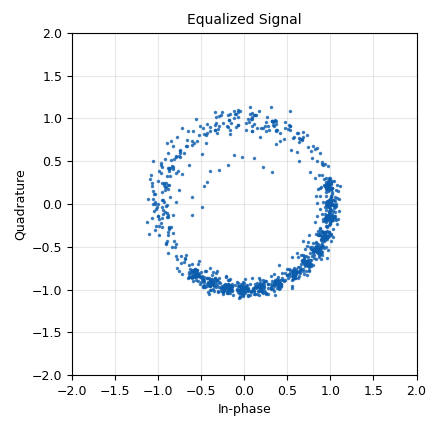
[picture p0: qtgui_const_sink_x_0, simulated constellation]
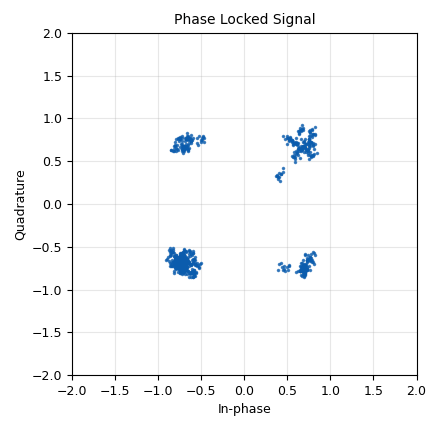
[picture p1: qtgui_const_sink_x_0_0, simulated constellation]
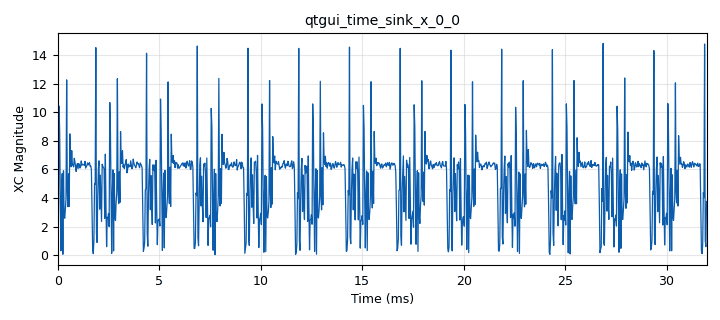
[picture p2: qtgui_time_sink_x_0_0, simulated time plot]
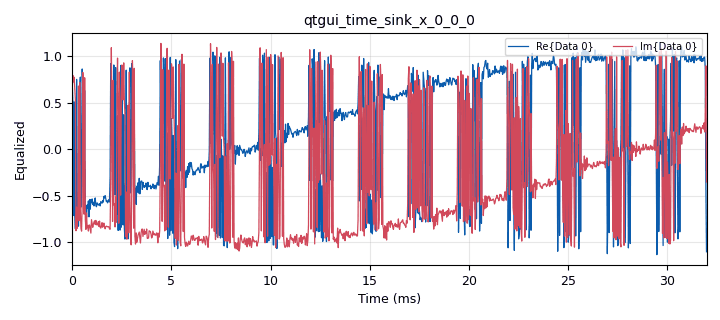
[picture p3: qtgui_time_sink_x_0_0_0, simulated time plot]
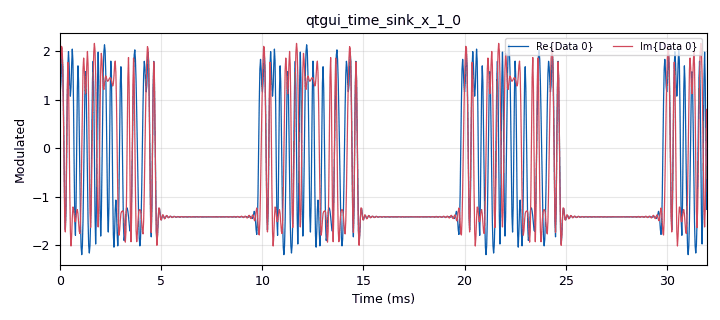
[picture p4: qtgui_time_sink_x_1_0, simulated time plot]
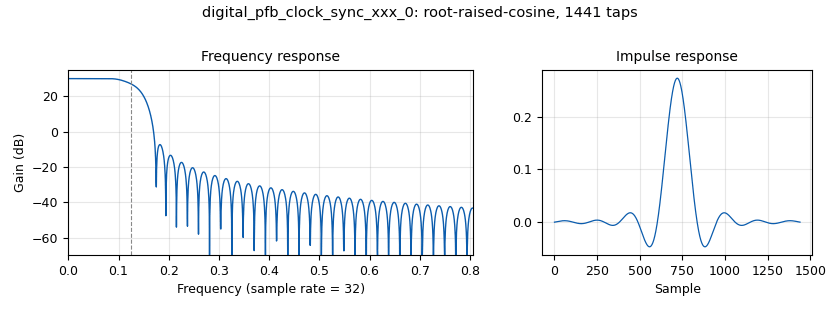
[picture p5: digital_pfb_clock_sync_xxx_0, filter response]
options:
  parameters:
    author: Naoki Pross
    generate_options: qt_gui
    id: correlator
    output_language: python
    title: Correlator Test
  states: {}

blocks:
- name: access_code_symbols
  id: variable
  parameters:
    value: '[(-1.4142135623730951-1.4142135623730951j), (1.4142135623730951-1.4142135623730951j), (1.4142135623730951+1.4142135623730951j), (1.4142135623730951+1.4142135623730951j), (-1.4142135623730951-1.4142135623730951j), (1.4142135623730951+1.4142135623730951j), (1.4142135623730951-1.4142135623730951j), (1.4142135623730951-1.4142135623730951j)]'
  states: {}
- name: access_code_symbols_sps
  id: variable
  parameters:
    value: '[(1.4142197+1.4142197j), (1.4142197+1.4142197j), (1.4142197+1.4142197j), (1.4142197+1.4142197j), (1.4142197-1.4142197j), (1.4142197-1.4142197j), (1.4142197-1.4142197j), (1.4142197-1.4142197j), (1.4142197-1.4142197j), (1.4142197-1.4142197j), (1.4142197-1.4142197j), (1.4142197-1.4142197j), (-1.4142197-1.4142197j), (-1.4142197-1.4142197j), (-1.4142197-1.4142197j), (-1.4142197-1.4142197j), (1.4142197-1.4142197j), (1.4142197-1.4142197j), (1.4142197-1.4142197j), (1.4142197-1.4142197j), (1.4142197+1.4142197j), (1.4142197+1.4142197j), (1.4142197+1.4142197j), (1.4142197+1.4142197j), (1.4142197+1.4142197j), (1.4142197+1.4142197j), (1.4142197+1.4142197j), (1.4142197+1.4142197j)]'
  states: {}
- name: const
  id: variable_constellation
  parameters:
    precision: '8'
    type: qpsk
  states: {}
- name: excess_bw
  id: variable
  parameters:
    value: '.35'
  states: {}
- name: nfilts
  id: variable
  parameters:
    value: '32'
  states: {}
- name: revconj_access_code_symbols
  id: variable
  parameters:
    value: '[(1.4142135623730951+1.4142135623730951j), (1.4142135623730951+1.4142135623730951j), (1.4142135623730951-1.4142135623730951j), (-1.4142135623730951+1.4142135623730951j), (1.4142135623730951-1.4142135623730951j), (1.4142135623730951-1.4142135623730951j), (1.4142135623730951+1.4142135623730951j), (-1.4142135623730951+1.4142135623730951j)]'
  states: {}
- name: rrc_taps
  id: variable
  parameters:
    value: firdes.root_raised_cosine(nfilts, nfilts, 1.0/float(sps), excess_bw, 45*nfilts)
  states: {}
- name: samp_rate
  id: variable
  parameters:
    value: '32000'
  states: {}
- name: sps
  id: variable
  parameters:
    value: '4'
  states: {}
- name: testvec
  id: variable
  parameters:
    value: '[31, 53] + [0x12, 0xe3, 0x9b, 0xee, 0x84, 0x23, 0x41, 0xf3]'
  states: {}
- name: timing_loop_bw
  id: variable
  parameters:
    value: 2 * 3.141592653589793 / 100
  states: {}
- name: blocks_complex_to_magphase_0
  id: blocks_complex_to_magphase
  parameters: {}
  states: {state: disabled}
- name: blocks_complex_to_magphase_0_0
  id: blocks_complex_to_magphase
  parameters: {}
  states: {}
- name: blocks_multiply_const_vxx_0
  id: blocks_multiply_const_vxx
  parameters:
    const: 180 / 3.141592653589793
    type: float
  states: {state: disabled}
- name: blocks_multiply_const_vxx_0_0
  id: blocks_multiply_const_vxx
  parameters:
    const: 180 / 3.141592653589793
    type: float
  states: {state: disabled}
- name: blocks_null_sink_3
  id: blocks_null_sink
  parameters:
    type: float
  states: {}
- name: blocks_null_source_0
  id: blocks_null_source
  parameters:
    type: byte
  states: {}
- name: blocks_stream_mux_0
  id: blocks_stream_mux
  parameters:
    lengths: '[10, len(testvec)]'
    type: byte
  states: {}
- name: blocks_stream_mux_1
  id: blocks_stream_mux
  parameters:
    lengths: '[len(access_code_symbols_sps), sps * (len(testvec) + 15)]'
    type: complex
  states: {state: disabled}
- name: blocks_throttle_0
  id: blocks_throttle
  parameters:
    samples_per_second: samp_rate
    type: complex
  states: {}
- name: blocks_vector_sink_x_0
  id: blocks_vector_sink_x
  parameters:
    type: byte
  states: {}
- name: blocks_vector_source_x_0
  id: blocks_vector_source_x
  parameters:
    repeat: 'True'
    type: byte
    vector: testvec * 1600
  states: {}
- name: blocks_vector_source_x_1
  id: blocks_vector_source_x
  parameters:
    repeat: 'True'
    type: complex
    vector: access_code_symbols_sps
  states: {state: disabled}
- name: channels_channel_model_0
  id: channels_channel_model
  parameters:
    epsilon: '1.0'
    freq_offset: '0.0001'
    noise_voltage: '0.2'
    seed: '243'
    taps: '-1.4 + .4j'
  states: {}
- name: digital_cma_equalizer_cc_0
  id: digital_cma_equalizer_cc
  parameters:
    modulus: '1'
    mu: '.002'
    num_taps: '15'
    sps: '1'
  states: {}
- name: digital_constellation_decoder_cb_0
  id: digital_constellation_decoder_cb
  parameters:
    constellation: const
  states: {}
- name: digital_constellation_modulator_0
  id: digital_constellation_modulator
  parameters:
    constellation: const
    differential: 'False'
    excess_bw: excess_bw
    samples_per_symbol: sps
  states: {}
- name: digital_corr_est_cc_0
  id: digital_corr_est_cc
  parameters:
    mark_delay: '0'
    sps: '1'
    symbols: access_code_symbols
    threshold: '.8'
    threshold_method: digital.THRESHOLD_DYNAMIC
  states: {}
- name: digital_pfb_clock_sync_xxx_0
  id: digital_pfb_clock_sync_xxx
  parameters:
    filter_size: nfilts
    init_phase: '16'
    loop_bw: timing_loop_bw
    max_dev: '1.5'
    osps: '1'
    sps: sps
    taps: rrc_taps
    type: ccf
  states: {}
- name: epy_block_0
  id: epy_block
  parameters:
    _source_code: |
      import pmt

      import numpy as np
      from gnuradio import gr


      class blk(gr.sync_block):
          def __init__(self):
              gr.sync_block.__init__(
                  self,
                  name='Phase Lock',
                  in_sig=[np.complex64],
                  out_sig=[np.complex64]
              )

              # keep track of how many samples were processed,
              # because tags have an absolute offset
              self.sampnr: np.complex64 = 0

              # because of block processing a tagged block could
              # be split in half so we need to keep track of the
              # "previous" values
              self.last_tag = None

          def work(self, input_items, output_items):
              # nicer aliases
              out = output_items[0]
              inp = input_items[0]

              def print_phase_correction(start, end, phase, freq):
                  print(f"Correction for block {start:3d} to {end:3d} is phase = {phase: 2.4f} rad, freq = {freq * 1e3: 2.4f} milli rad/samp")

              # read only phase tags
              tags = self.get_tags_in_window(0, 0, len(inp))

              is_phase = lambda tag: pmt.to_python(tag.key) == "phase_est"
              phase_tags = list(filter(is_phase, tags))

              # FIXME: what if there are no tags? check that!

              print(f"Processing {len(inp)} samples, with {len(phase_tags)} tags")

              # create a phase correction vector
              phase = np.zeros(len(inp), dtype=np.float64)

              # compute correction from previous block (if present)
              if self.last_tag:
                  # variables for first and last phase values
                  lval = pmt.to_python(self.last_tag.value)
                  fval = pmt.to_python(phase_tags[0].value)

                  # compute index for phase vector
                  fidx = phase_tags[0].offset - self.sampnr

                  # compute frequency offset
                  nsamples = phase_tags[0].offset - self.last_tag.offset
                  freq = (fval - lval) / nsamples

                  # total phase correction is: phase + freq * time
                  phase[:fidx] = lval * np.ones(fidx) + freq * np.arange(0, fidx)

                  # compute correction
                  print_phase_correction(0, fidx, lval, freq)

              # iterate phase tags "in the middle"
              # FIXME: what if there are less than 2 tags?
              #        the code below will probably crash
              for prev_tag, next_tag in zip(phase_tags, phase_tags[1:]):
                  # unpack pmt values
                  pval = pmt.to_python(prev_tag.value)
                  nval = pmt.to_python(next_tag.value)

                  # compute indexes in phase vector
                  pidx = prev_tag.offset - self.sampnr
                  nidx = next_tag.offset - self.sampnr

                  # compute frquency correction for block by linearly interpolating
                  # frame values
                  nsamples = nidx - pidx
                  freq = (nval - pval) / nsamples

                  # total correction is: phase + freq * time
                  phase[pidx:nidx] = pval * np.ones(nsamples) + freq * np.arange(0, nsamples)
                  print_phase_correction(pidx, nidx, pval, freq)

              # for the last block because the next tag is unknown (in the future) we
              # cannot predict the frequency offset. Thus we save the last tag for
              # the next call.
              self.last_tag = phase_tags[-1]
              val = pmt.to_python(self.last_tag.value)
              idx = self.last_tag.offset - self.sampnr

              phase[idx:] = val

              # compute correction
              out[:] = inp * np.exp(-1j * phase)

              # increment processed samples counter
              self.sampnr += len(inp)
              return len(phase)
  states: {}
- name: fadingui_deframer_0
  id: fadingui_deframer
  parameters:
    frame_obj: ''
  states: {state: bypassed}
- name: fir_filter_xxx_1
  id: fir_filter_xxx
  parameters:
    decim: '1'
    taps: revconj_access_code_symbols
    type: ccc
  states: {state: disabled}
- name: qtgui_const_sink_x_0
  id: qtgui_const_sink_x
  parameters:
    gui_hint: 0,1,2,1
    name: '"Equalized Signal"'
    size: '1024'
    type: complex
  states: {}
- name: qtgui_const_sink_x_0_0
  id: qtgui_const_sink_x
  parameters:
    gui_hint: 2,1,2,1
    name: '"Phase Locked Signal"'
    size: '1024'
    type: complex
  states: {}
- name: qtgui_const_sink_x_1
  id: qtgui_const_sink_x
  parameters:
    alpha1: '.5'
    autoscale: 'True'
    grid: 'True'
    gui_hint: 2,1,2,1
    marker1: '9'
    name: '"Cross Correlation"'
    size: '1024'
    style1: '2'
    type: complex
  states: {state: disabled}
- name: qtgui_time_sink_x_0
  id: qtgui_time_sink_x
  parameters:
    autoscale: 'True'
    gui_hint: 2,0,1,1
    size: '1024'
    srate: samp_rate
    type: float
    ylabel: XC Magnitude
    ymax: '20'
    ymin: '0'
  states: {state: disabled}
- name: qtgui_time_sink_x_0_0
  id: qtgui_time_sink_x
  parameters:
    autoscale: 'True'
    size: '1024'
    srate: samp_rate
    type: float
    ylabel: XC Magnitude
    ymax: '20'
    ymin: '0'
  states: {}
- name: qtgui_time_sink_x_0_0_0
  id: qtgui_time_sink_x
  parameters:
    autoscale: 'True'
    size: '1024'
    srate: samp_rate
    type: complex
    ylabel: Equalized
    ymax: '2'
    ymin: '-2'
  states: {}
- name: qtgui_time_sink_x_1_0
  id: qtgui_time_sink_x
  parameters:
    autoscale: 'True'
    gui_hint: 0,0,1,1
    size: '1024'
    srate: samp_rate
    type: complex
    ylabel: Modulated
    ymax: '2'
    ymin: '-2'
  states: {}
- name: qtgui_time_sink_x_1_1
  id: qtgui_time_sink_x
  parameters:
    autoscale: 'True'
    grid: 'True'
    gui_hint: 1,0,1,1
    size: '1024'
    srate: samp_rate
    type: complex
    ylabel: Equalized
    ymax: '2'
    ymin: '-2'
  states: {state: disabled}
- name: qtgui_time_sink_x_2
  id: qtgui_time_sink_x
  parameters:
    autoscale: 'True'
    gui_hint: 3,0,1,1
    size: '1024'
    srate: samp_rate
    type: float
    ylabel: XC Phase
  states: {state: disabled}
- name: qtgui_time_sink_x_2_0
  id: qtgui_time_sink_x
  parameters:
    autoscale: 'True'
    size: '1024'
    srate: samp_rate
    type: float
    ylabel: XC Phase
  states: {state: disabled}
- name: root_raised_cosine_filter_0
  id: root_raised_cosine_filter
  parameters:
    alpha: excess_bw
    decim: '1'
    gain: '2'
    ntaps: 11*samp_rate
    samp_rate: samp_rate
    sym_rate: sps * samp_rate
    type: fir_filter_ccf
  states: {state: disabled}
- name: virtual_sink_0
  id: virtual_sink
  parameters:
    stream_id: envelope
  states: {}
- name: virtual_sink_3
  id: virtual_sink
  parameters:
    stream_id: locked
  states: {}
- name: virtual_source_0
  id: virtual_source
  parameters:
    stream_id: envelope
  states: {}
- name: virtual_source_1
  id: virtual_source
  parameters:
    stream_id: locked
  states: {}

connections:
- [blocks_complex_to_magphase_0, '0', qtgui_time_sink_x_0, '0']
- [blocks_complex_to_magphase_0, '1', blocks_multiply_const_vxx_0, '0']
- [blocks_complex_to_magphase_0_0, '0', qtgui_time_sink_x_0_0, '0']
- [blocks_complex_to_magphase_0_0, '1', blocks_multiply_const_vxx_0_0, '0']
- [blocks_complex_to_magphase_0_0, '1', blocks_null_sink_3, '0']
- [blocks_multiply_const_vxx_0, '0', qtgui_time_sink_x_2, '0']
- [blocks_multiply_const_vxx_0_0, '0', qtgui_time_sink_x_2_0, '0']
- [blocks_null_source_0, '0', blocks_stream_mux_0, '0']
- [blocks_stream_mux_0, '0', digital_constellation_modulator_0, '0']
- [blocks_stream_mux_1, '0', channels_channel_model_0, '0']
- [blocks_throttle_0, '0', virtual_sink_0, '0']
- [blocks_vector_source_x_0, '0', blocks_stream_mux_0, '1']
- [blocks_vector_source_x_1, '0', root_raised_cosine_filter_0, '0']
- [channels_channel_model_0, '0', blocks_throttle_0, '0']
- [digital_cma_equalizer_cc_0, '0', digital_corr_est_cc_0, '0']
- [digital_cma_equalizer_cc_0, '0', fir_filter_xxx_1, '0']
- [digital_cma_equalizer_cc_0, '0', qtgui_const_sink_x_0, '0']
- [digital_cma_equalizer_cc_0, '0', qtgui_time_sink_x_1_1, '0']
- [digital_constellation_decoder_cb_0, '0', fadingui_deframer_0, '0']
- [digital_constellation_modulator_0, '0', blocks_stream_mux_1, '1']
- [digital_constellation_modulator_0, '0', channels_channel_model_0, '0']
- [digital_constellation_modulator_0, '0', qtgui_time_sink_x_1_0, '0']
- [digital_corr_est_cc_0, '0', epy_block_0, '0']
- [digital_corr_est_cc_0, '0', qtgui_time_sink_x_0_0_0, '0']
- [digital_corr_est_cc_0, '1', blocks_complex_to_magphase_0_0, '0']
- [digital_pfb_clock_sync_xxx_0, '0', digital_cma_equalizer_cc_0, '0']
- [epy_block_0, '0', qtgui_const_sink_x_0_0, '0']
- [epy_block_0, '0', virtual_sink_3, '0']
- [fadingui_deframer_0, '0', blocks_vector_sink_x_0, '0']
- [fir_filter_xxx_1, '0', blocks_complex_to_magphase_0, '0']
- [fir_filter_xxx_1, '0', qtgui_const_sink_x_1, '0']
- [root_raised_cosine_filter_0, '0', blocks_stream_mux_1, '0']
- [virtual_source_0, '0', digital_pfb_clock_sync_xxx_0, '0']
- [virtual_source_1, '0', digital_constellation_decoder_cb_0, '0']

metadata:
  file_format: 1
